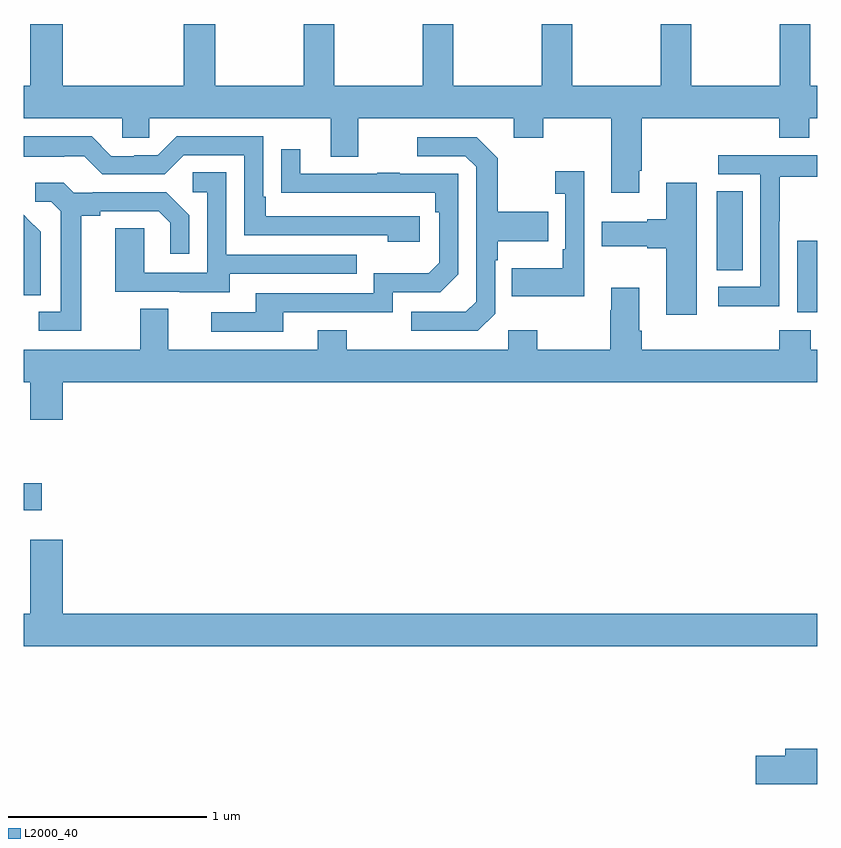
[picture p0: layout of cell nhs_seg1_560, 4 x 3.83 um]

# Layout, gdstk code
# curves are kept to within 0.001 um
import gdstk
lib = gdstk.Library(unit=1e-6, precision=1e-09)
def R(c, l, rs):  # rectangles x0, y0, x1, y1
    for r in rs: c.add(gdstk.rectangle(r[:2], r[2:], *l))
def P(c, l, *ps):  # polygons
    for p in ps: c.add(gdstk.Polygon(p, *l))
L2000_40 = (2000, 40)

nhs_seg1_560 = lib.new_cell('nhs_seg1_560')
R(nhs_seg1_560, L2000_40, [(141,557.747,141.091,557.882), (144.899,558.746,145,559.107), (144.494,558.958,144.625,559.355)])
P(nhs_seg1_560, L2000_40, [(142.566,560.199),(142.411,560.199),(142.411,559.888),(141.966,559.888),(141.966,560.199),(141.806,560.199),(141.806,559.888),(141.196,559.888),(141.196,560.199),(141.032,560.199),(141.032,559.888),(141,559.888),(141,559.724),(141.495,559.724),(141.495,559.626),(141.633,559.626),(141.633,559.724),(142.547,559.724),(142.547,559.53),(142.687,559.53),(142.687,559.724),(143.471,559.724),(143.471,559.625),(143.619,559.625),(143.619,559.724),(143.963,559.724),(143.963,559.347),(144.103,559.347),(144.103,559.459),(144.116,559.459),(144.116,559.724),(144.809,559.724),(144.809,559.625),(144.961,559.625),(144.961,559.724),(145,559.724),(145,559.888),(144.966,559.888),(144.966,560.199),(144.811,560.199),(144.811,559.888),(144.366,559.888),(144.366,560.199),(144.211,560.199),(144.211,559.888),(143.766,559.888),(143.766,560.199),(143.611,560.199),(143.611,559.888),(143.166,559.888),(143.166,560.199),(143.011,560.199),(143.011,559.888),(142.566,559.888)],
  [(142.996,559.23),(142.219,559.23),(142.219,559.327),(142.206,559.327),(142.206,559.632),(141.771,559.632),(141.675,559.536),(141.557,559.536),(141.557,559.533),(141.441,559.533),(141.341,559.633),(141,559.633),(141,559.529),(141.203,559.529),(141.203,559.533),(141.303,559.533),(141.396,559.44),(141.711,559.44),(141.807,559.536),(142.11,559.536),(142.11,559.134),(142.835,559.134),(142.835,559.1),(142.996,559.1)],
  [(143.376,558.738),(143.376,559.007),(143.389,559.007),(143.389,559.103),(143.645,559.103),(143.645,559.251),(143.389,559.251),(143.389,559.523),(143.283,559.629),(142.983,559.629),(142.983,559.533),(143.226,559.533),(143.28,559.479),(143.28,558.798),(143.229,558.747),(142.953,558.747),(142.953,558.651),(143.289,558.651)],
  [(142.309,558.744),(142.86,558.744),(142.86,558.846),(143.1,558.846),(143.19,558.936),(143.19,559.443),(142.895,559.443),(142.895,559.448),(142.783,559.448),(142.783,559.443),(142.393,559.443),(142.393,559.567),(142.297,559.567),(142.297,559.348),(143.074,559.347),(143.074,559.25),(143.094,559.25),(143.094,558.996),(143.041,558.943),(142.764,558.943),(142.764,558.84),(142.169,558.84),(142.169,558.744),(141.945,558.744),(141.945,558.648),(142.309,558.648)],
  [(144.81,559.204),(144.813,559.204),(144.813,559.428),(145,559.428),(145,559.536),(144.501,559.536),(144.501,559.44),(144.714,559.44),(144.714,558.873),(144.501,558.873),(144.501,558.775),(144.81,558.775)],
  [(143.826,559.456),(143.679,559.456),(143.679,559.343),(143.73,559.343),(143.73,559.063),(143.718,559.063),(143.718,558.967),(143.461,558.967),(143.461,558.827),(143.826,558.827)],
  [(142.039,558.939),(142.679,558.939),(142.679,559.035),(142.02,559.035),(142.02,559.451),(141.852,559.451),(141.852,559.35),(141.924,559.35),(141.924,558.945),(141.606,558.945),(141.606,559.169),(141.461,559.169),(141.461,558.849),(141.785,558.849),(141.785,558.845),(142.039,558.845)],
  [(141.289,559.232),(141.385,559.232),(141.385,559.254),(141.68,559.254),(141.737,559.197),(141.737,559.041),(141.834,559.041),(141.834,559.234),(141.718,559.35),(141.346,559.35),(141.346,559.347),(141.252,559.347),(141.2,559.399),(141.057,559.399),(141.057,559.302),(141.138,559.302),(141.185,559.255),(141.185,558.747),(141.075,558.747),(141.075,558.651),(141.289,558.651)],
  [(144.394,559.399),(144.239,559.399),(144.239,559.214),(144.143,559.214),(144.143,559.201),(143.913,559.201),(143.913,559.079),(144.143,559.079),(144.143,559.067),(144.239,559.067),(144.239,558.732),(144.394,558.732)],
  [(141.084,559.15),(141.011,559.223),(141.012,559.224),(141,559.236),(141,558.832),(141.084,558.832)],
  [(145,558.556),(144.969,558.556),(144.969,558.655),(144.809,558.655),(144.809,558.556),(144.116,558.556),(144.116,558.652),(144.103,558.652),(144.103,558.868),(143.963,558.868),(143.963,558.755),(143.956,558.755),(143.956,558.556),(143.589,558.556),(143.589,558.655),(143.442,558.655),(143.442,558.556),(142.629,558.556),(142.629,558.655),(142.481,558.655),(142.481,558.556),(141.727,558.556),(141.727,558.764),(141.587,558.764),(141.587,558.556),(141,558.556),(141,558.392),(141.032,558.392),(141.032,558.204),(141.196,558.204),(141.196,558.392),(145,558.392)],
  [(145,557.224),(141.196,557.224),(141.196,557.599),(141.032,557.599),(141.032,557.224),(141,557.224),(141,557.06),(145,557.06)],
  [(145,556.544),(144.839,556.544),(144.839,556.508),(144.69,556.508),(144.69,556.366),(145,556.366)])

lib.write_gds('nhs_seg1_560.gds')
